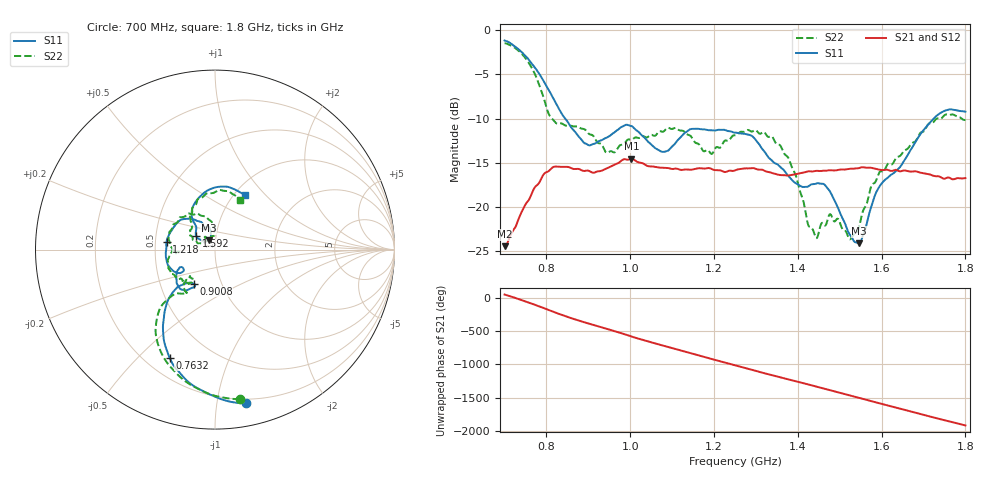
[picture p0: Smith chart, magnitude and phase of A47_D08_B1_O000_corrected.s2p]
! Created with skrf 1.9.0 (http://scikit-rf.org).
# Hz S RI R 50.0
!freq ReS11 ImS11 ReS21 ImS21 ReS12 ImS12 ReS22 ImS22
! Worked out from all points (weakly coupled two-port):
!   1601 points, 700 MHz to 1.8 GHz, reference 50 ohm
!   highest |S21| = -14.54 dB at 1.002 GHz (marker M1); lowest = -24.4 dB at 700 MHz (marker M2)
!   lowest |S11| = -24.1 dB at 1.546 GHz (marker M3), VSWR 1.13, Z = 46.4 + j4.81 ohm
!   |S11| at or under -10 dB: 844.6 MHz to 1.724 GHz (879.8 MHz wide, 68.5 % of centre)
!   |S22| runs from -23.6 to -1.5 dB; largest |S21 - S12| = 0.0036
!   S11 on the Smith chart (normalised r, x): 700 MHz: 0.17, -1.21; 763.2 MHz: 0.30, -0.62; 900.8 MHz: 0.74, -0.29; 1.218 GHz: 0.57, +0.05; 1.592 GHz: 0.80, +0.12; 1.8 GHz: 1.11, +0.77
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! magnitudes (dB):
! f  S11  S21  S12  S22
! 700 MHz  -1.2  -24.4  -24.2  -1.5
! 763.2 MHz  -3.7  -18.6  -18.7  -4.2
! 813.4 MHz  -7.5  -15.6  -15.6  -10.0
! 883.6 MHz  -12.4  -15.8  -15.7  -11.1
! 900.8 MHz  -13.0  -15.9  -15.9  -11.7
! 945.4 MHz  -12.1  -15.6  -15.6  -13.9
! 1.002 GHz  -10.8  -14.5  -14.6  -12.4
! 1.067 GHz  -13.6  -15.5  -15.5  -11.5
! 1.144 GHz  -11.2  -15.8  -15.8  -12.0
! 1.193 GHz  -11.3  -15.7  -15.6  -14.0
! 1.218 GHz  -11.3  -15.9  -15.9  -13.1
! 1.25 GHz  -11.6  -15.9  -15.8  -11.9
! 1.358 GHz  -15.5  -16.4  -16.3  -13.0
! 1.394 GHz  -17.3  -16.3  -16.3  -16.2
! 1.434 GHz  -17.4  -16.0  -15.9  -22.4
! 1.469 GHz  -17.8  -15.9  -15.9  -21.7
! 1.525 GHz  -23.2  -15.7  -15.7  -23.6
! 1.546 GHz  -24.1  -15.6  -15.6  -22.3
! 1.592 GHz  -17.9  -15.7  -15.7  -16.3
! 1.617 GHz  -16.6  -15.8  -15.8  -15.1
! 1.732 GHz  -9.7  -16.5  -16.5  -10.0
! 1.8 GHz  -9.2  -16.7  -16.7  -10.2
